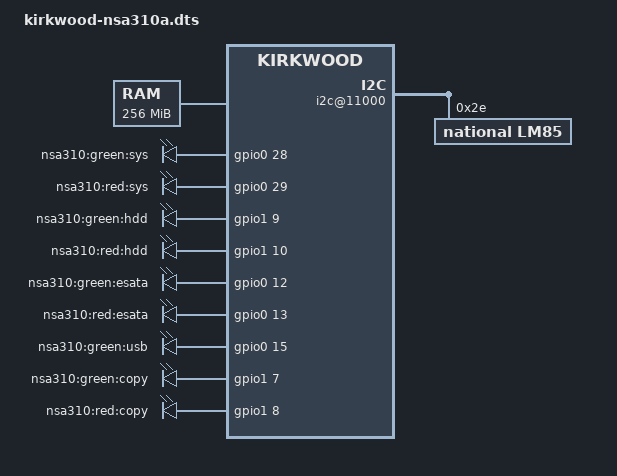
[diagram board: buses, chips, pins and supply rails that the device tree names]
/dts-v1/;

#include "kirkwood-nsa3x0-common.dtsi"

/*
 * There are at least two different NSA310 designs. This variant does
 * not have the red USB Led.
 */

/ {
	compatible = "zyxel,nsa310a", "zyxel,nsa310", "marvell,kirkwood-88f6281", "marvell,kirkwood";

	memory {
		device_type = "memory";
		reg = <0x00000000 0x10000000>;
	};

	chosen {
		bootargs = "console=ttyS0,115200";
		stdout-path = &uart0;
	};

	ocp@f1000000 {
		pinctrl: pin-controller@10000 {
			pinctrl-names = "default";

			pmx_led_esata_green: pmx-led-esata-green {
				marvell,pins = "mpp12";
				marvell,function = "gpio";
			};

			pmx_led_esata_red: pmx-led-esata-red {
				marvell,pins = "mpp13";
				marvell,function = "gpio";
			};

			pmx_led_usb_green: pmx-led-usb-green {
				marvell,pins = "mpp15";
				marvell,function = "gpio";
			};

			pmx_led_sys_green: pmx-led-sys-green {
				marvell,pins = "mpp28";
				marvell,function = "gpio";
			};

			pmx_led_sys_red: pmx-led-sys-red {
				marvell,pins = "mpp29";
				marvell,function = "gpio";
			};

			pmx_led_hdd_green: pmx-led-hdd-green {
				marvell,pins = "mpp41";
				marvell,function = "gpio";
			};

			pmx_led_hdd_red: pmx-led-hdd-red {
				marvell,pins = "mpp42";
				marvell,function = "gpio";
			};

		};

		i2c@11000 {
			status = "okay";

			lm85: lm85@2e {
				compatible = "national,lm85";
				reg = <0x2e>;
			};
		};
	};

	gpio-leds {
		compatible = "gpio-leds";

		green-sys {
			label = "nsa310:green:sys";
			gpios = <&gpio0 28 GPIO_ACTIVE_HIGH>;
		};
		red-sys {
			label = "nsa310:red:sys";
			gpios = <&gpio0 29 GPIO_ACTIVE_HIGH>;
		};
		green-hdd {
			label = "nsa310:green:hdd";
			gpios = <&gpio1 9 GPIO_ACTIVE_HIGH>;
		};
		red-hdd {
			label = "nsa310:red:hdd";
			gpios = <&gpio1 10 GPIO_ACTIVE_HIGH>;
		};
		green-esata {
			label = "nsa310:green:esata";
			gpios = <&gpio0 12 GPIO_ACTIVE_HIGH>;
		};
		red-esata {
			label = "nsa310:red:esata";
			gpios = <&gpio0 13 GPIO_ACTIVE_HIGH>;
		};
		green-usb {
			label = "nsa310:green:usb";
			gpios = <&gpio0 15 GPIO_ACTIVE_HIGH>;
		};
		green-copy {
			label = "nsa310:green:copy";
			gpios = <&gpio1 7 GPIO_ACTIVE_HIGH>;
		};
		red-copy {
			label = "nsa310:red:copy";
			gpios = <&gpio1 8 GPIO_ACTIVE_HIGH>;
		};
	};
};
